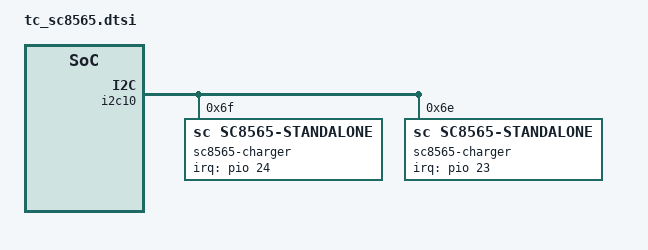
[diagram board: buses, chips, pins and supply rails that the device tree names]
&i2c10 {
	sc8565-charger@6F {
		compatible = "sc,sc8565-standalone";
		chg_name = "primary_dvchg";
		reg = <0x6F>;
		pinctrl-names = "cp_i2c_clk_mode", "cp_i2c_sda_mode";
		pinctrl-0 = <&cp_i2c_clk_mode>;
		pinctrl-1 = <&cp_i2c_sda_mode>;

		sc,sc8565,irq-gpio = <&pio 24 0x00>;
		/*sc,sc8565,lpm-gpio = <&pio 29 0x00>;*/

		/*sc,sc8565,bat-ovp-disable = <0>;
		sc,sc8565,bat-ocp-disable = <0>;
		sc,sc8565,bus-ocp-disable = <0>;
		sc,sc8565,bus-ucp-disable = <0>;
		sc,sc8565,pmid2out-ovp-disable = <0>;
		sc,sc8565,pmid2out-uvp-disable = <0>;*/

		sc,sc8565,bat-ovp-threshold = <4525>;
		sc,sc8565,bat-ocp-threshold = <8000>;

		sc,sc8565,bus-ovp-threshold = <24000>;//defult 4:1 charge
		sc,sc8565,bus-ocp-threshold = <3750>;

		sc,sc8565,usb-ovp-threshold = <22000>;
		sc,sc8565,wpc-ovp-threshold = <22000>;
		sc,sc8565,out-ovp-threshold = <5000>;

		sc,sc8565,pmid2out-ovp-threshold = <400>;
		sc,sc8565,pmid2out-uvp-threshold = <200>;
		sc,sc8565,sense-r-mohm = <1>;
	};
	sc8565-charger@6e {
		compatible = "sc,sc8565-standalone";
		chg_name = "secondary_dvchg";
		reg = <0x6e>;

		sc,sc8565,irq-gpio = <&pio 23 0x00>;
		/*sc,sc8565,lpm-gpio = <&pio 30 0x00>;*/
		/*sc,sc8565,bat-ovp-disable = <0>;
		sc,sc8565,bat-ocp-disable = <0>;
		sc,sc8565,bus-ocp-disable = <0>;
		sc,sc8565,bus-ucp-disable = <0>;
		sc,sc8565,pmid2out-ovp-disable = <0>;
		sc,sc8565,pmid2out-uvp-disable = <0>;*/

		sc,sc8565,bat-ovp-threshold = <4525>;
		sc,sc8565,bat-ocp-threshold = <8000>;

		sc,sc8565,bus-ovp-threshold = <24000>;//defult 4:1 charge
		sc,sc8565,bus-ocp-threshold = <3750>;

		sc,sc8565,usb-ovp-threshold = <22000>;
		sc,sc8565,wpc-ovp-threshold = <22000>;
		sc,sc8565,out-ovp-threshold = <5000>;

		sc,sc8565,pmid2out-ovp-threshold = <400>;
		sc,sc8565,pmid2out-uvp-threshold = <200>;
		sc,sc8565,sense-r-mohm = <1>;
	};
};
&pio {
	cp_i2c_clk_mode: cp_i2c_clk_mode {
		pins_cmd_dat {
			pinmux = <PINMUX_GPIO157__FUNC_SCL10>;
			drive-strength = <7>;
		};
	};
	cp_i2c_sda_mode: cp_i2c_sda_mode {
		pins_cmd_dat {
			pinmux = <PINMUX_GPIO158__FUNC_SDA10>;
			drive-strength = <7>;
		};
	};
};
